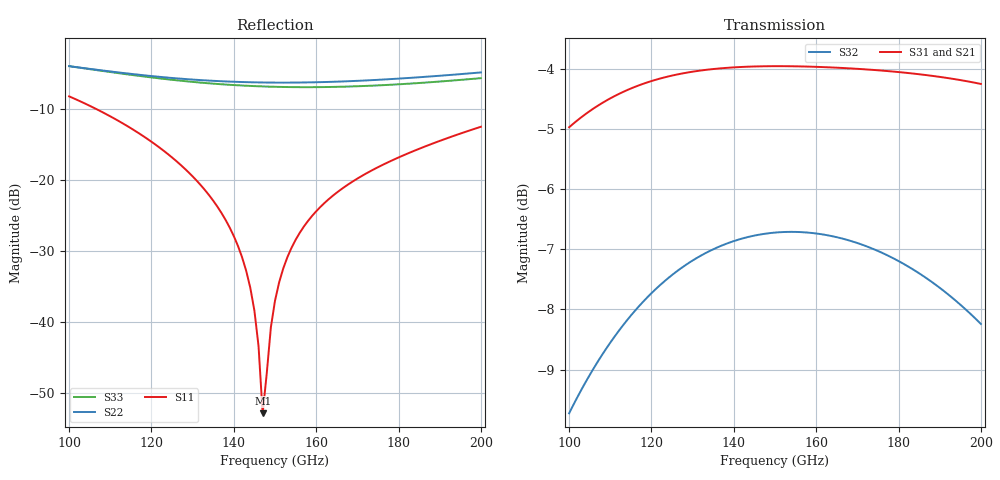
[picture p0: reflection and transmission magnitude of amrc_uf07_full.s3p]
! Created with skrf 2.1.0 (http://scikit-rf.org).
# GHz S DB R 50.0
! Port[1] = P1
! Port[2] = P2
! Port[3] = P3
!freq dBS11 angS11 dBS12 angS12 dBS13 angS13
! dBS21 angS21 dBS22 angS22 dBS23 angS23
! dBS31 angS31 dBS32 angS32 dBS33 angS33
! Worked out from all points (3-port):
!   101 points, 100 GHz to 200 GHz, reference 50 ohm
!   strongest paths, dB at 100 GHz, 125 GHz, 150 GHz, 175 GHz, 200 GHz:
!     S31: -5.0, -4.1, -4.0, -4.0, -4.3
!     S21: -4.7, -4.0, -4.0, -4.2, -4.6
!     S32: -9.7, -7.4, -6.7, -7.0, -8.2
!   lowest |S11| = -52.8 dB at 147 GHz (marker M1), VSWR 1.00, Z = 50.2 + j0.0881 ohm
!   |S11| at or under -10 dB: 106.7 GHz to end of sweep
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100  -8.20 129.8  -4.74 -10.4  -4.97 166.0
     -4.74 -10.4  -3.95 60.1  -9.73 91.1
     -4.97 166.0  -9.73 91.1  -3.95 50.5
123  -15.88 99.3  -4.03 -45.0  -4.15 129.5
     -4.03 -45.0  -5.50 40.1  -7.54 57.1
     -4.15 129.5  -7.54 57.1  -5.74 27.4
137  -24.62 84.9  -3.95 -63.8  -3.99 109.5
     -3.95 -63.8  -6.07 29.9  -6.94 38.3
     -3.99 109.5  -6.94 38.3  -6.49 15.9
144  -35.16 75.1  -3.95 -72.8  -3.96 100.1
     -3.95 -72.8  -6.21 24.9  -6.79 29.4
     -3.96 100.1  -6.79 29.4  -6.73 10.5
146  -43.36 63.7  -3.96 -75.3  -3.96 97.4
     -3.96 -75.3  -6.23 23.5  -6.76 26.9
     -3.96 97.4  -6.76 26.9  -6.78 9.0
147  -52.84 22.6  -3.96 -76.5  -3.96 96.1
     -3.96 -76.5  -6.24 22.8  -6.75 25.6
     -3.96 96.1  -6.75 25.6  -6.80 8.3
150  -36.98 -94.8  -3.98 -80.2  -3.96 92.1
     -3.98 -80.2  -6.26 20.7  -6.72 21.9
     -3.96 92.1  -6.72 21.9  -6.85 6.0
155  -28.41 -102.6  -4.00 -86.4  -3.96 85.7
     -4.00 -86.4  -6.25 17.1  -6.71 15.8
     -3.96 85.7  -6.71 15.8  -6.90 2.3
163  -22.70 -108.2  -4.06 -96.0  -3.98 75.5
     -4.06 -96.0  -6.16 11.1  -6.77 6.2
     -3.98 75.5  -6.77 6.2  -6.88 -3.7
200  -12.48 -129.6  -4.64 -140.4  -4.25 28.8
     -4.64 -140.4  -4.83 -20.3  -8.24 -37.2
     -4.25 28.8  -8.24 -37.2  -5.63 -34.5
